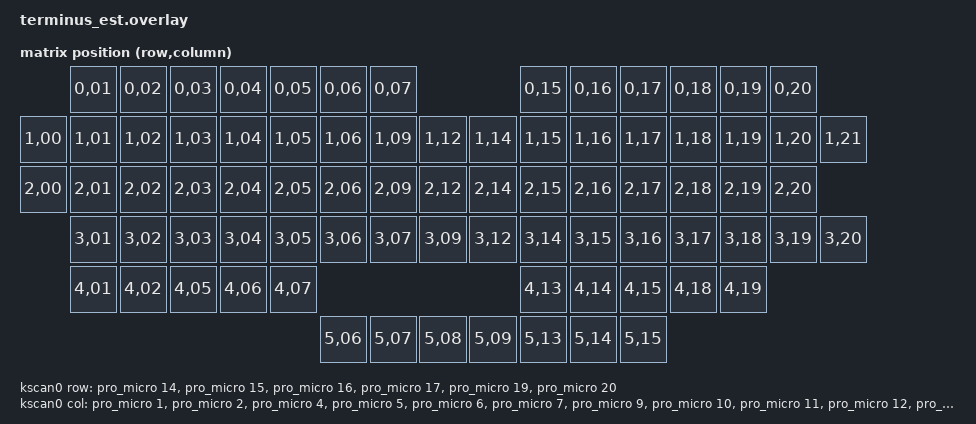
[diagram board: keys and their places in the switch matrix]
#include <behaviors.dtsi>
#include <dt-bindings/zmk/keys.h>
#include <dt-bindings/zmk/matrix_transform.h>

/ {
    matrix_transform0: keymap_transform0 {
        compatible = "zmk,matrix-transform";
        columns = <22>;
        rows = <6>;
        map = <
        //  COL00    COL01    COL02    COL03    COL04    COL05    COL06    COL07    COL08    COL09    COL10    COL11    COL12    COL13    COL14    COL15    COL16    COL17    COL18    COL19    COL20    COL21
        //  RC(0,00) RC(0,01) RC(0,02) RC(0,03) RC(0,04) RC(0,05) RC(0,06) RC(0,07) RC(0,08) RC(0,09) RC(0,10) RC(0,11) RC(0,12) RC(0,13) RC(0,14) RC(0,15) RC(0,16) RC(0,17) RC(0,18) RC(0,19) RC(0,20) RC(0,21)              // ROW
                     RC(0,01) RC(0,02) RC(0,03) RC(0,04) RC(0,05) RC(0,06) RC(0,07)                                                                RC(0,15) RC(0,16) RC(0,17) RC(0,18) RC(0,19) RC(0,20)                       // ROW0
            RC(1,00) RC(1,01) RC(1,02) RC(1,03) RC(1,04) RC(1,05) RC(1,06)                   RC(1,09)                   RC(1,12)          RC(1,14) RC(1,15) RC(1,16) RC(1,17) RC(1,18) RC(1,19) RC(1,20) RC(1,21)              // ROW1
            RC(2,00) RC(2,01) RC(2,02) RC(2,03) RC(2,04) RC(2,05) RC(2,06)                   RC(2,09)                   RC(2,12)          RC(2,14) RC(2,15) RC(2,16) RC(2,17) RC(2,18) RC(2,19) RC(2,20)                       // ROW2
                     RC(3,01) RC(3,02) RC(3,03) RC(3,04) RC(3,05) RC(3,06) RC(3,07)          RC(3,09)                   RC(3,12)          RC(3,14) RC(3,15) RC(3,16) RC(3,17) RC(3,18) RC(3,19) RC(3,20)                       // ROW3
                     RC(4,01) RC(4,02)                   RC(4,05) RC(4,06) RC(4,07)                                              RC(4,13) RC(4,14) RC(4,15)                   RC(4,18) RC(4,19)                                // ROW4
                                                                  RC(5,06) RC(5,07) RC(5,08) RC(5,09)                            RC(5,13) RC(5,14) RC(5,15)                                                                    // ROW5

        >;
    };

    kscan0: kscan_0 {
        compatible = "zmk,kscan-gpio-matrix";
        wakeup-source;
        diode-direction = "col2row";

        col-gpios
            = <&pro_micro 1 GPIO_ACTIVE_HIGH>   // COL00
            , <&pro_micro 2 GPIO_ACTIVE_HIGH>   // COL01
            , <&pro_micro 4 GPIO_ACTIVE_HIGH>   // COL02
            , <&pro_micro 5 GPIO_ACTIVE_HIGH>   // COL03
            , <&pro_micro 6 GPIO_ACTIVE_HIGH>   // COL04
            , <&pro_micro 7 GPIO_ACTIVE_HIGH>   // COL05
            , <&pro_micro 9 GPIO_ACTIVE_HIGH>   // COL06
            , <&pro_micro 10 GPIO_ACTIVE_HIGH>  // COL07
            , <&pro_micro 11 GPIO_ACTIVE_HIGH>  // COL08
            , <&pro_micro 12 GPIO_ACTIVE_HIGH>  // COL09
                                                // COL10
                                                // COL11
            , <&pro_micro 21 GPIO_ACTIVE_HIGH>  // COL12
            , <&pro_micro 22 GPIO_ACTIVE_HIGH>  // COL13
            , <&pro_micro 24 GPIO_ACTIVE_HIGH>  // COL14
            , <&pro_micro 25 GPIO_ACTIVE_HIGH>  // COL15
            , <&pro_micro 26 GPIO_ACTIVE_HIGH>  // COL16
            , <&pro_micro 27 GPIO_ACTIVE_HIGH>  // COL17
            , <&pro_micro 29 GPIO_ACTIVE_HIGH>  // COL18
            , <&pro_micro 31 GPIO_ACTIVE_HIGH>  // COL19
            , <&pro_micro 32 GPIO_ACTIVE_HIGH>  // COL20
            , <&pro_micro 34 GPIO_ACTIVE_HIGH>  // COL21
            ;

        row-gpios
            = <&pro_micro 14 (GPIO_ACTIVE_HIGH | GPIO_PULL_DOWN)> // ROW0
            , <&pro_micro 15 (GPIO_ACTIVE_HIGH | GPIO_PULL_DOWN)> // ROW1
            , <&pro_micro 16 (GPIO_ACTIVE_HIGH | GPIO_PULL_DOWN)> // ROW2
            , <&pro_micro 17 (GPIO_ACTIVE_HIGH | GPIO_PULL_DOWN)> // ROW3
            , <&pro_micro 19 (GPIO_ACTIVE_HIGH | GPIO_PULL_DOWN)> // ROW4
            , <&pro_micro 20 (GPIO_ACTIVE_HIGH | GPIO_PULL_DOWN)> // ROW5
            ;
    };

    physical_layout0: physical_layout_0 {
        compatible = "zmk,physical-layout";
        display-name = "Default Layout";
        transform = <&default_transform>;
    };

    chosen {
        zmk,kscan = &kscan0;
        zmk,physical-layout = &physical_layout0;
    };

    keymap {
        compatible = "zmk,keymap";

        default_layer
            bindings = <
            //  COL00     COL01     COL02     COL03     COL04     COL05     COL06     COL07     COL08     COL09     COL10     COL11     COL12     COL13     COL14     COL15     COL16     COL17     COL18     COL19     COL20     COL21     // ROW
                          &kp GRAVE &kp N1    &kp N2    &kp N3    &kp N4    &kp N5    &kp N6                                                                          &kp N7    &kp N8    &kp N9    &kp N0    &kp MINUS &kp PLUS  &kp BSPC  // ROW0
                &kp TAB   &kp TAB   &kp Q     &kp W     &kp E     &kp R     &kp T                         &kp ESC                       &kp ESC             &kp Y     &kp U     &kp I     &kp O     &kp P     &kp LBKT  &kp RBKT  &kp BSPC  // ROW1
            >;
        };
    };
};
